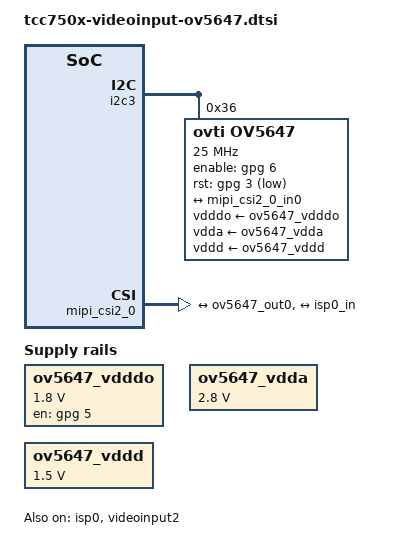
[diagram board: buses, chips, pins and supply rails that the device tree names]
/ {
	ov5647_vdddo: fixedregulator@0 {
		compatible = "regulator-fixed";
		regulator-name = "ov5647_vdddo";
		regulator-min-microvolt = <1800000>;
		regulator-max-microvolt = <1800000>;
		gpios = <&gpg 5 0x0>;
		enable-active-high;
		regulator-always-on;
	};

	ov5647_vdda: fixedregulator@1 {
		compatible = "regulator-fixed";
		regulator-name = "ov5647_vdda";
		regulator-min-microvolt = <2800000>;
		regulator-max-microvolt = <2800000>;
		enable-active-high;
		regulator-always-on;
	};

	ov5647_vddd: fixedregulator@2 {
		compatible = "regulator-fixed";
		regulator-name = "ov5647_vddd";
		regulator-min-microvolt = <1500000>;
		regulator-max-microvolt = <1500000>;
		enable-active-high;
		regulator-always-on;
	};

	ov5647_clk: ov5647_clk {
		compatible = "fixed-clock";
		#clock-cells = <1>;
		clock-frequency = <25000000>;
	};
};

&i2c3 {
	ov5647@36 {
		compatible = "ovti,ov5647";
		status = "okay";
		reg = <0x36>;

		clocks = <&ov5647_clk 200>;
		clock-names = "xclk";
		clock-frequency = <25000000>;

		vdddo-supply = <&ov5647_vdddo>;	// 1.8v
		vdda-supply = <&ov5647_vdda>;	// 2.8v
		vddd-supply = <&ov5647_vddd>;	// 1.5v

		enable-gpios = <&gpg 6 GPIO_ACTIVE_HIGH>;
		rst-gpios = <&gpg 3 GPIO_ACTIVE_LOW>;

		rotation = <0>;
		orientation = <2>;

		ports {
			#address-cells = <1>;
			#size-cells = <0>;
			port@0 {
				reg = <0>;
				ov5647_out0: endpoint@0 {
					remote-endpoint = <&mipi_csi2_0_in0>;
					io-direction = "output";
					channel = <0>;

					clock-lanes = <0>;
					data-lanes = <1 2>;
					clock-noncontinuous;
					link-frequencies =
						/bits/ 64 <297000000>;
				};
			};
		};
	};
};

&mipi_csi2_0 {
	status = "okay";
	ports {
		#address-cells = <1>;
		#size-cells = <0>;
		
		port@0 {
			reg = <0>;
			mipi_csi2_0_in0: endpoint {
				remote-endpoint = <&ov5647_out0>;
				io-direction    = "input";
				num-channel     = <1>;
				channel = <0>;
				/*
				* 0: CH0 only, no data interleave
				* 1: DT only
				* 2: VC only
				* 3: VC and DT
				*/
				interleave-mode = <0>;
				hs-settle = <13>;
				data-lanes = <1 2>;
				};
		};
		port@1 {
			reg = <1>;
			mipi_csi2_0_out0: endpoint {
				remote-endpoint = <&isp0_in>;
				io-direction	= "output";
				channel		= <0>;
				/*
				 * 0: Single pixel mode
				 * 1: Dual pixel mode (RAW8/10/12, YUV422)
				 * 2: Quad pixel mode (RAW8/10/12)
				 * 3: Invalid
				 */
				pixel-mode = <0>;
			};
		};
    };
};

&mipi_wrap {
	isp0-bypass = <0>;
};

&isp0 {
	status = "okay";
	mem_share = <1>;
	/*
	 * 0: RGGB
	 * 1: RCCB (ISP0 only)
	 * 2: RCCC (ISP0 only)
	 * 3: RGBIR (ISP0 only)
	 */
	cfa = <0>;

	/* buffer for 3DNR */
	//memory-region	= <&pmap_isp0_3dnr>;

	/*
	 * Crop output image (X, Y)
	 * X: The number of left pixel. It will also crop X pixels of right.
	 * Y: The number of top pixel. It will also crop Y pixels of bottom.
	 * The default value is (8, 8).
	 */
	out_win_crop = <4 8>;

	ports {
		#address-cells = <1>;
		#size-cells = <0>;
		port@0 {
			reg = <0>;
			isp0_in: endpoint {
				remote-endpoint = <&mipi_csi2_0_out0>;
				io-direction	= "input";
			};
		};
		port@1 {
			reg = <1>;
			isp0_out: endpoint {
				remote-endpoint	= <&videoinput2_in>;
				io-direction	= "output";
			};
		};
	};
};

&videoinput2 {
	status = "okay";
	cam-ch = <0>;
	/* memory-region
	 *  - [0]: parking guideline
	 *  - [1]: deinterlacing by viqe
	 *  - [2]: preview
	 *  - [3]: last frame
	 */
	memory-region = <0
					 0
					 &pmap_rearcamera2
					 0>;
	port {
		videoinput2_in: endpoint {
			remote-endpoint	= <&isp0_out>;
			io-direction	= "input";
			stream-enable   = <1>; //VIN_CTRL.SE
			flush-vsync     = <1>; //VIN_MISC.FVS
		};
	};
};
